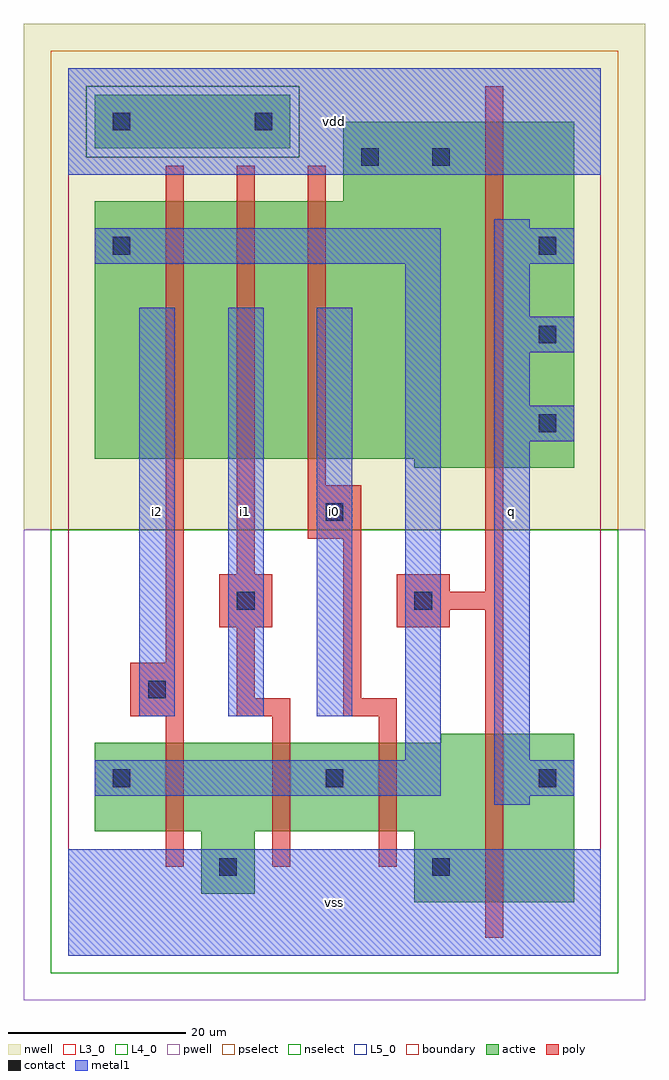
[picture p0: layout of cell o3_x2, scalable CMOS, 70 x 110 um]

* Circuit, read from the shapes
.subckt o3_x2 i0 i1 i2 q vdd vss
M1 vss i2 n1 VSUBS nfet w=10u l=2u
M2 n1 i1 vss VSUBS nfet w=10u l=2u
M3 vss i0 n1 VSUBS nfet w=10u l=2u
M4 q n1 vss VSUBS nfet w=19u l=2u
M5 n2 i2 n1 vdd pfet w=29u l=2u
M6 n3 i1 n2 vdd pfet w=29u l=2u
M7 vdd i0 n3 vdd pfet w=29u l=2u
M8 q n1 vdd vdd pfet w=39u l=2u
.ends

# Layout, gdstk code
import gdstk
lib = gdstk.Library(unit=1e-6, precision=1e-09)
def R(c, l, rs):  # rectangles x0, y0, x1, y1
    for r in rs: c.add(gdstk.rectangle(r[:2], r[2:], *l))
def A(c, l, x, y, w, h, nx, ny, dx, dy):  # array of equal rectangles
    R(c, l, [(x+i*dx, y+j*dy, x+i*dx+w, y+j*dy+h) for i in range(nx) for j in range(ny)])
L3_0 = (3, 0)
L4_0 = (4, 0)
L5_0 = (5, 0)
contact = (25, 0)
pwell = (41, 0)
nwell = (42, 0)
active = (43, 0)
pselect = (44, 0)
nselect = (45, 0)
poly = (46, 0)
metal1 = (49, 0)
boundary = (63, 0)

o3_x2 = lib.new_cell('o3_x2')
R(o3_x2, L3_0, [(39,6,57,14), (15,7,21,14), (3,14,57,24), (42,24,57,25)])
R(o3_x2, L4_0, [(39,55,57,56), (3,56,57,85), (31,85,57,94)])
R(o3_x2, L5_0, [(3,91,25,97)])
A(o3_x2, contact, 5, 19, 2, 2, 3, 1, 24, 0)
A(o3_x2, contact, 53, 59, 2, 2, 1, 3, 0, 10)
R(o3_x2, contact, [(17,9,19,11), (41,9,43,11), (9,29,11,31), (19,39,21,41), (39,39,41,41), (29,49,31,51), (5,79,7,81), (33,89,35,91), (41,89,43,91), (5,93,7,95), (21,93,23,95)])
R(o3_x2, pwell, [(-5,-5,65,48)])
R(o3_x2, nwell, [(-5,48,65,105)])
R(o3_x2, active, [(39,6,57,14), (15,7,21,14), (3,14,57,24), (42,24,57,25), (39,55,57,56), (3,56,57,85), (31,85,57,94), (3,91,25,97)])
R(o3_x2, pselect, [(-2,48,62,90), (-2,90,2,98), (26,90,62,98), (-2,98,62,102)])
R(o3_x2, nselect, [(-2,-2,62,48), (2,90,26,98)])
A(o3_x2, poly, 11, 10, 2, 17, 3, 1, 12, 0)
R(o3_x2, poly, [(47,2,49,39), (7,27,13,33), (19,27,25,29), (31,27,37,29), (19,29,21,37), (31,29,33,47), (11,33,13,89), (17,37,23,43), (37,37,43,39), (37,39,49,41), (37,41,43,43), (47,41,49,98), (19,43,21,89), (27,47,33,53), (27,53,29,89)])
A(o3_x2, metal1, 8, 27, 4, 46, 3, 1, 10, 0)
A(o3_x2, metal1, 48, 58, 9, 4, 1, 3, 0, 10)
R(o3_x2, metal1, [(0,0,60,12), (48,17,52,18), (3,18,42,22), (48,18,57,22), (38,22,42,78), (48,22,52,58), (48,62,52,68), (48,72,52,78), (3,78,42,82), (48,82,52,83), (0,88,60,100)])
R(o3_x2, boundary, [(0,0,60,100)])
o3_x2.add(gdstk.Label('i2', (10,50), layer=49, texttype=0))
o3_x2.add(gdstk.Label('i1', (20,50), layer=49, texttype=0))
o3_x2.add(gdstk.Label('vss', (30,6), layer=49, texttype=0))
o3_x2.add(gdstk.Label('i0', (30,50), layer=49, texttype=0))
o3_x2.add(gdstk.Label('vdd', (30,94), layer=49, texttype=0))
o3_x2.add(gdstk.Label('q', (50,50), layer=49, texttype=0))

lib.write_gds('o3_x2.gds')
